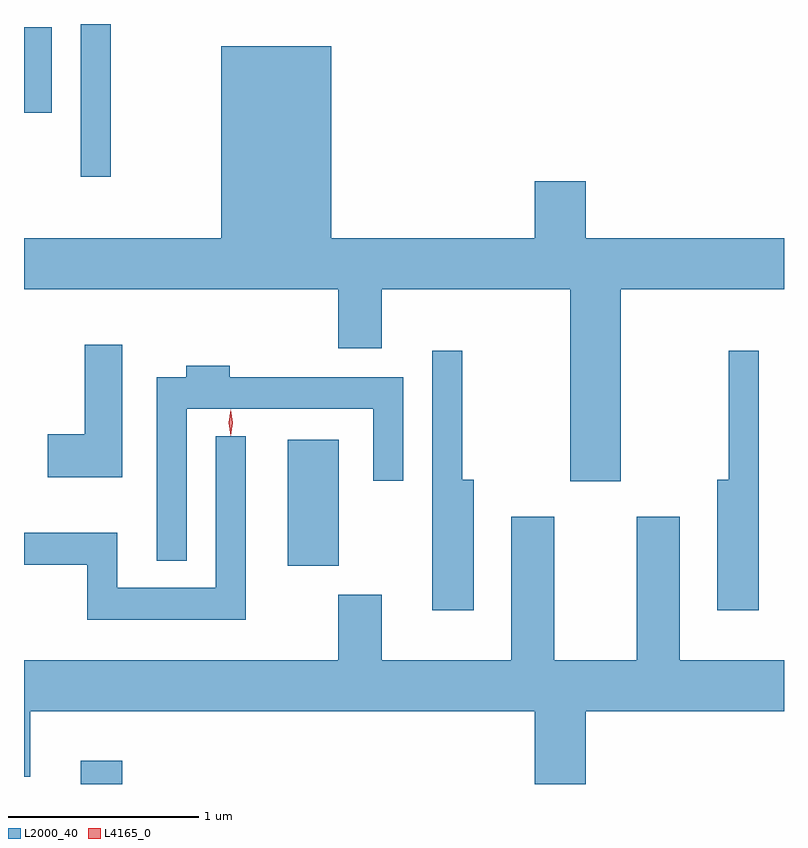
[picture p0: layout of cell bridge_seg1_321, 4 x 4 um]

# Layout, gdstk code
import gdstk
lib = gdstk.Library(unit=1e-6, precision=1e-09)
def R(c, l, rs):  # rectangles x0, y0, x1, y1
    for r in rs: c.add(gdstk.rectangle(r[:2], r[2:], *l))
def P(c, l, *ps):  # polygons
    for p in ps: c.add(gdstk.Polygon(p, *l))
L2000_40 = (2000, 40)
L4165_0 = (4165, 0)

bridge_seg1_321 = lib.new_cell('bridge_seg1_321')
R(bridge_seg1_321, L2000_40, [(931.966,874.772,932.184,874.894), (933.056,875.921,933.324,876.584), (931.966,877.968,932.124,878.772), (931.667,878.306,931.814,878.754)])
P(bridge_seg1_321, L2000_40, [(934.624,877.944),(934.356,877.944),(934.356,877.644),(933.284,877.644),(933.284,878.654),(932.706,878.654),(932.706,877.644),(931.667,877.644),(931.667,877.376),(933.321,877.376),(933.321,877.066),(933.549,877.066),(933.549,877.376),(934.541,877.376),(934.541,876.366),(934.809,876.366),(934.809,877.376),(935.667,877.376),(935.667,877.644),(934.624,877.644)],
  [(932.184,877.084),(931.986,877.084),(931.986,876.614),(931.791,876.614),(931.791,876.386),(932.184,876.386)],
  [(934.034,876.374),(933.974,876.374),(933.974,877.053),(933.816,877.053),(933.816,875.686),(934.034,875.686)],
  [(935.534,877.053),(935.376,877.053),(935.376,876.374),(935.316,876.374),(935.316,875.686),(935.534,875.686)],
  [(932.524,876.746),(933.506,876.746),(933.506,876.368),(933.664,876.368),(933.664,876.914),(932.749,876.914),(932.749,876.974),(932.521,876.974),(932.521,876.914),(932.366,876.914),(932.366,875.948),(932.524,875.948)],
  [(932.834,876.603),(932.676,876.603),(932.676,875.804),(932.159,875.804),(932.159,876.094),(931.667,876.094),(931.667,875.926),(932.001,875.926),(932.001,875.636),(932.834,875.636)],
  [(934.624,875.156),(935.667,875.156),(935.667,875.424),(935.119,875.424),(935.119,876.179),(934.891,876.179),(934.891,875.424),(934.459,875.424),(934.459,876.179),(934.231,876.179),(934.231,875.424),(933.549,875.424),(933.549,875.769),(933.321,875.769),(933.321,875.424),(931.667,875.424),(931.667,874.811),(931.699,874.811),(931.699,875.156),(934.356,875.156),(934.356,874.772),(934.624,874.772)])
P(bridge_seg1_321, L4165_0, [(932.755,876.607),(932.754,876.608),(932.745,876.674),(932.754,876.74),(932.755,876.741),(932.755,876.74),(932.765,876.674),(932.755,876.608)],
  [(932.754,876.604),(932.745,876.673),(932.754,876.742),(932.755,876.743),(932.755,876.742),(932.765,876.673),(932.755,876.604),(932.755,876.604)])

lib.write_gds('bridge_seg1_321.gds')
